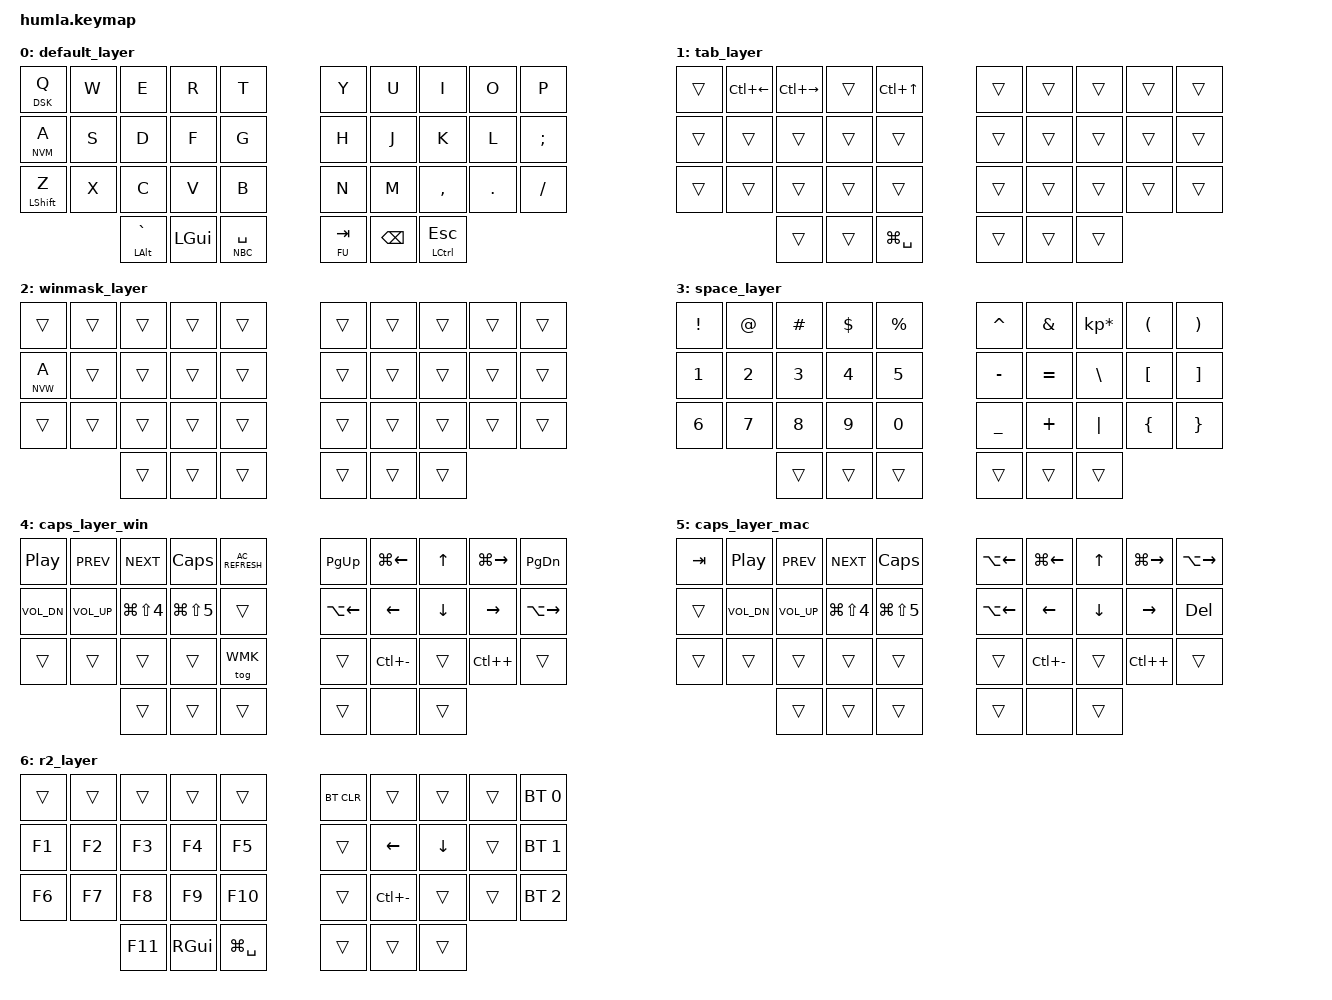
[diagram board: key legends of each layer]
/*
 * Copyright (c) 2020 The ZMK Contributors
 * SPDX-License-Identifier: MIT
 *
 * This is a Colemak 28 oneshot keymap for the Humla keyboard.
 * Last edited by James White, November 29, 2021.
 */

#include <behaviors.dtsi>
#include <dt-bindings/zmk/keys.h>
#include <dt-bindings/zmk/bt.h>

#define DFT 0
#define DSK 1
#define WMK 2
#define NBC 3
#define NVW 4
#define NVM 5
#define FU 6

/ {
    combos {
        compatible = "zmk,combos";
        combo_ret {
            timeout-ms = <50>;
            key-positions = <21 22>;
            bindings = <&kp RETURN>;
        };
        combo_rsh {
            timeout-ms = <50>;
            key-positions = <33 34>;
            bindings = <&kp RSHFT>;
        };
        combo_squote {
            timeout-ms = <50>;
            key-positions = <19 20 21>;
            bindings = <&kp SQT>;
        };
        combo_backtick {
            timeout-ms = <50>;
            key-positions = <31 32 33>;
            bindings = <&kp GRAVE>;
        };
        combo_dquote {
            timeout-ms = <50>;
            key-positions = <7 8 9>;
            bindings = <&kp DQT>;
        };
    };
};

/ {
    keymap {
        compatible = "zmk,keymap";
        
        default_layer {
            bindings = <
                                   &lt DSK Q    &kp W        &kp E        &kp R        &kp T           &kp Y        &kp U        &kp I        &kp O        &kp P
                                   &lt NVM A    &kp S        &kp D        &kp F        &kp G           &kp H        &kp J        &kp K        &kp L        &kp SEMI
                                   &mt LSHFT Z  &kp X        &kp C        &kp V        &kp B           &kp N        &kp M        &kp COMMA    &kp DOT      &kp FSLH
                                                          &mt LALT GRAVE  &kp LGUI     &lt NBC SPACE   &lt FU TAB   &kp BSPC     &mt LCTRL ESC     
            >;
        };
        tab_layer {
            bindings = <
                                   &trans       &kp LC(LEFT) &kp LC(RIGHT) &trans       &kp LC(UP)       &trans       &trans       &trans       &trans       &trans
                                   &trans       &trans       &trans        &trans       &trans           &trans       &trans       &trans       &trans       &trans
                                   &trans       &trans       &trans        &trans       &trans           &trans       &trans       &trans       &trans       &trans
                                                              &trans       &trans       &kp LG(SPACE)    &trans       &trans       &trans      
            >;
        };
        winmask_layer {
            bindings = <
                                   &trans       &trans       &trans       &trans       &trans        &trans       &trans       &trans       &trans       &trans
                                   &lt NVW A    &trans       &trans       &trans       &trans        &trans       &trans       &trans       &trans       &trans
                                   &trans       &trans       &trans       &trans       &trans        &trans       &trans       &trans       &trans       &trans
                                                             &trans       &trans       &trans        &trans       &trans       &trans      
            >;
        };
        space_layer {
            bindings = <
                                   &kp EXCL         &kp AT           &kp HASH         &kp DLLR         &kp PRCNT         &kp CARET    &kp AMPS     &kp KP_MULTIPLY   &kp LPAR &kp RPAR
                                   &kp NUMBER_1     &kp NUMBER_2     &kp NUMBER_3     &kp NUMBER_4     &kp NUMBER_5      &kp MINUS    &kp EQUAL    &kp BSLH     &kp LBKT      &kp RBKT
                                   &kp NUMBER_6     &kp NUMBER_7     &kp NUMBER_8     &kp NUMBER_9     &kp NUMBER_0      &kp UNDER    &kp PLUS     &kp PIPE     &kp LBRC      &kp RBRC
                                                                     &trans           &trans           &trans            &trans       &trans       &trans      
            >;
        };
        caps_layer_win {
            bindings = <
                                   &kp C_PP      &kp C_PREV   &kp C_NEXT           &kp CAPS             &kp C_AC_REFRESH  &kp PG_UP    &kp LG(LEFT) &kp UP       &kp LG(RIGHT) &kp PG_DN
                                   &kp C_VOL_DN  &kp C_VOL_UP &kp LG(LS(NUMBER_4)) &kp LG(LS(NUMBER_5)) &trans            &kp LA(LEFT) &kp LEFT     &kp DOWN     &kp RIGHT     &kp LA(RIGHT)
                                   &trans        &trans       &trans               &trans               &tog WMK      &trans       &kp LC(MINUS)    &trans       &kp LC(PLUS)  &trans
                                                              &trans               &trans               &trans        &trans       &none            &trans      
            >;
        };
        caps_layer_mac {
            bindings = <
                                   &kp TAB      &kp C_PP       &kp C_PREV       &kp C_NEXT           &kp CAPS             &kp LA(LEFT)  &kp LG(LEFT)    &kp UP       &kp LG(RIGHT)   &kp LA(RIGHT)
                                   &trans       &kp C_VOL_DN   &kp C_VOL_UP     &kp LG(LS(NUMBER_4)) &kp LG(LS(NUMBER_5)) &kp LA(LEFT)  &kp LEFT        &kp DOWN     &kp RIGHT       &kp DEL
                                   &trans       &trans         &trans           &trans               &trans               &trans        &kp LC(MINUS)   &trans       &kp LC(PLUS)    &trans
                                                               &trans           &trans               &trans               &trans        &none           &trans      
            >;
        };
        r2_layer {
            bindings = <
                                   &trans       &trans       &trans       &trans       &trans        &bt BT_CLR    &trans        &trans       &trans       &bt BT_SEL 0
                                   &kp F1       &kp F2       &kp F3       &kp F4       &kp F5        &trans        &kp LEFT      &kp DOWN     &trans       &bt BT_SEL 1
                                   &kp F6       &kp F7       &kp F8       &kp F9       &kp F10       &trans        &kp LC(MINUS) &trans       &trans       &bt BT_SEL 2
                                                             &kp F11      &kp RGUI     &kp LG(SPACE) &trans        &trans        &trans
            >;
        };
    };
};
